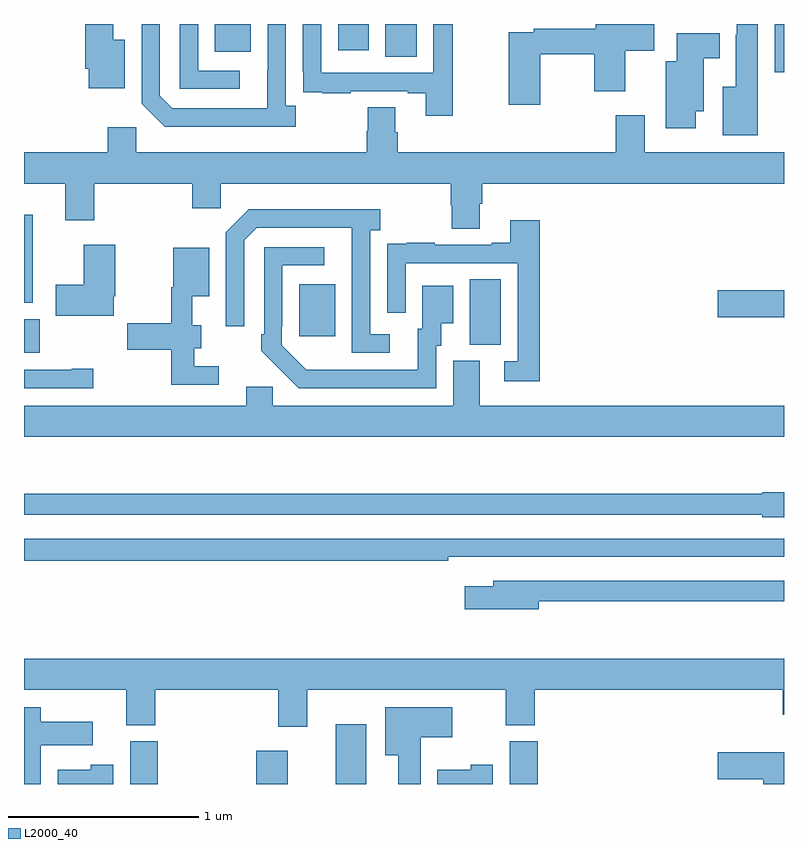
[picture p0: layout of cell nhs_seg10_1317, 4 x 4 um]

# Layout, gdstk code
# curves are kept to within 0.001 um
import gdstk
lib = gdstk.Library(unit=1e-6, precision=1e-09)
def R(c, l, rs):  # rectangles x0, y0, x1, y1
    for r in rs: c.add(gdstk.rectangle(r[:2], r[2:], *l))
def P(c, l, *ps):  # polygons
    for p in ps: c.add(gdstk.Polygon(p, *l))
L2000_40 = (2000, 40)

nhs_seg10_1317 = lib.new_cell('nhs_seg10_1317')
R(nhs_seg10_1317, L2000_40, [(179.558,1286.5,179.705,1286.724), (180.222,1286.5,180.388,1286.674), (180.641,1286.5,180.802,1286.815), (181.556,1286.5,181.703,1286.724), (179,1288.769,179.083,1288.945), (181.346,1288.813,181.51,1289.156), (180.449,1288.857,180.637,1289.131), (182.652,1288.957,183,1289.099), (179,1289.033,179.047,1289.497), (182.951,1290.245,183,1290.5), (180.902,1290.328,181.066,1290.5), (180.005,1290.353,180.193,1290.5), (180.653,1290.363,180.814,1290.5)])
P(nhs_seg10_1317, L2000_40, [(179.53,1290.418),(179.47,1290.418),(179.47,1290.5),(179.323,1290.5),(179.323,1290.265),(179.342,1290.265),(179.342,1290.161),(179.53,1290.161)],
  [(180.43,1290.07),(180.378,1290.07),(180.378,1290.5),(180.282,1290.5),(180.281,1290.057),(179.781,1290.057),(179.715,1290.123),(179.715,1290.5),(179.619,1290.5),(179.619,1290.081),(179.74,1289.96),(180.43,1289.96)],
  [(182.863,1290.5),(182.751,1290.5),(182.751,1290.443),(182.747,1290.443),(182.747,1290.169),(182.678,1290.169),(182.678,1289.915),(182.863,1289.915)],
  [(181.256,1290.5),(181.155,1290.5),(181.155,1290.243),(180.564,1290.243),(180.564,1290.5),(180.468,1290.5),(180.468,1290.25),(180.469,1290.25),(180.469,1290.141),(180.571,1290.141),(180.571,1290.135),(180.719,1290.135),(180.719,1290.147),(181.019,1290.147),(181.019,1290.135),(181.115,1290.135),(181.115,1290.018),(181.256,1290.018)],
  [(181.716,1290.34),(182.002,1290.34),(182.002,1290.147),(182.164,1290.147),(182.164,1290.358),(182.317,1290.358),(182.317,1290.5),(182.009,1290.5),(182.009,1290.476),(181.684,1290.476),(181.684,1290.456),(181.55,1290.456),(181.55,1290.075),(181.716,1290.075)],
  [(180.136,1290.255),(179.916,1290.255),(179.916,1290.5),(179.82,1290.5),(179.82,1290.159),(180.136,1290.159)],
  [(182.536,1290.041),(182.578,1290.041),(182.578,1290.32),(182.662,1290.32),(182.662,1290.451),(182.435,1290.451),(182.435,1290.304),(182.378,1290.304),(182.378,1289.952),(182.536,1289.952)],
  [(181.399,1289.554),(181.412,1289.554),(181.412,1289.66),(183,1289.66),(183,1289.824),(182.266,1289.824),(182.266,1290.019),(182.114,1290.019),(182.114,1289.824),(180.968,1289.824),(180.968,1289.93),(180.955,1289.93),(180.955,1290.062),(180.808,1290.062),(180.808,1289.937),(180.803,1289.937),(180.803,1289.824),(179.592,1289.824),(179.592,1289.956),(179.441,1289.956),(179.441,1289.824),(179,1289.824),(179,1289.66),(179.216,1289.66),(179.216,1289.466),(179.369,1289.466),(179.369,1289.66),(179.885,1289.66),(179.885,1289.529),(180.036,1289.529),(180.036,1289.66),(181.247,1289.66),(181.247,1289.547),(181.252,1289.547),(181.252,1289.422),(181.399,1289.422)],
  [(180.925,1288.866),(180.822,1288.866),(180.822,1289.414),(180.874,1289.414),(180.874,1289.524),(180.184,1289.524),(180.063,1289.403),(180.063,1288.908),(180.159,1288.908),(180.159,1289.361),(180.225,1289.427),(180.725,1289.427),(180.726,1288.77),(180.925,1288.77)],
  [(181.715,1289.467),(181.559,1289.467),(181.559,1289.35),(181.463,1289.35),(181.463,1289.337),(181.163,1289.337),(181.163,1289.35),(181.015,1289.35),(181.015,1289.343),(180.913,1289.343),(180.913,1289.234),(180.912,1289.234),(180.912,1288.98),(181.008,1288.98),(181.008,1289.241),(181.599,1289.241),(181.599,1288.725),(181.527,1288.725),(181.527,1288.62),(181.715,1288.62)],
  [(179.472,1289.068),(179.481,1289.068),(179.481,1289.338),(179.315,1289.338),(179.315,1289.127),(179.166,1289.127),(179.166,1288.965),(179.472,1288.965)],
  [(181.17,1288.806),(181.195,1288.806),(181.195,1288.925),(181.258,1288.925),(181.258,1289.122),(181.097,1289.122),(181.097,1288.896),(181.073,1288.896),(181.073,1288.68),(180.486,1288.681),(180.357,1288.809),(180.357,1288.909),(180.36,1288.909),(180.36,1289.229),(180.58,1289.229),(180.58,1289.325),(180.264,1289.325),(180.264,1288.867),(180.249,1288.867),(180.249,1288.779),(180.446,1288.584),(181.17,1288.584)],
  [(180.025,1288.698),(179.896,1288.698),(179.896,1288.793),(179.932,1288.793),(179.932,1288.915),(179.885,1288.915),(179.885,1289.066),(179.974,1289.066),(179.974,1289.323),(179.786,1289.323),(179.786,1289.115),(179.775,1289.115),(179.775,1288.926),(179.544,1288.926),(179.544,1288.786),(179.775,1288.786),(179.775,1288.602),(180.025,1288.602)],
  [(183,1288.492),(181.399,1288.492),(181.399,1288.728),(181.259,1288.728),(181.259,1288.492),(180.309,1288.492),(180.309,1288.59),(180.17,1288.59),(180.17,1288.492),(179,1288.492),(179,1288.328),(183,1288.328)],
  [(179.365,1288.685),(179.252,1288.685),(179.252,1288.68),(179,1288.68),(179,1288.584),(179.365,1288.584)],
  [(183,1288.035),(182.886,1288.035),(182.886,1288.027),(179,1288.027),(179,1287.918),(182.886,1287.918),(182.886,1287.905),(183,1287.905)],
  [(181.232,1287.696),(183,1287.696),(183,1287.792),(179,1287.792),(179,1287.676),(181.232,1287.676)],
  [(181.708,1287.462),(183,1287.462),(183,1287.57),(181.469,1287.57),(181.469,1287.541),(181.32,1287.541),(181.32,1287.419),(181.708,1287.419)],
  [(180.49,1286.996),(181.535,1286.996),(181.535,1286.809),(181.688,1286.809),(181.688,1286.996),(182.993,1286.996),(182.993,1286.865),(183,1286.865),(183,1287.16),(179,1287.16),(179,1286.996),(179.537,1286.996),(179.537,1286.809),(179.69,1286.809),(179.69,1286.996),(180.338,1286.996),(180.338,1286.802),(180.49,1286.802)],
  [(179.089,1286.705),(179.362,1286.705),(179.362,1286.827),(179.089,1286.827),(179.089,1286.905),(179,1286.905),(179,1286.5),(179.089,1286.5)],
  [(181.087,1286.747),(181.255,1286.747),(181.255,1286.905),(180.902,1286.905),(180.902,1286.651),(180.971,1286.651),(180.971,1286.5),(181.087,1286.5)],
  [(183,1286.667),(182.652,1286.667),(182.652,1286.525),(182.89,1286.525),(182.89,1286.5),(183,1286.5)],
  [(181.468,1286.602),(181.35,1286.602),(181.35,1286.575),(181.175,1286.575),(181.175,1286.5),(181.468,1286.5)],
  [(179.47,1286.602),(179.352,1286.602),(179.352,1286.575),(179.177,1286.575),(179.177,1286.5),(179.47,1286.5)])

lib.write_gds('nhs_seg10_1317.gds')
